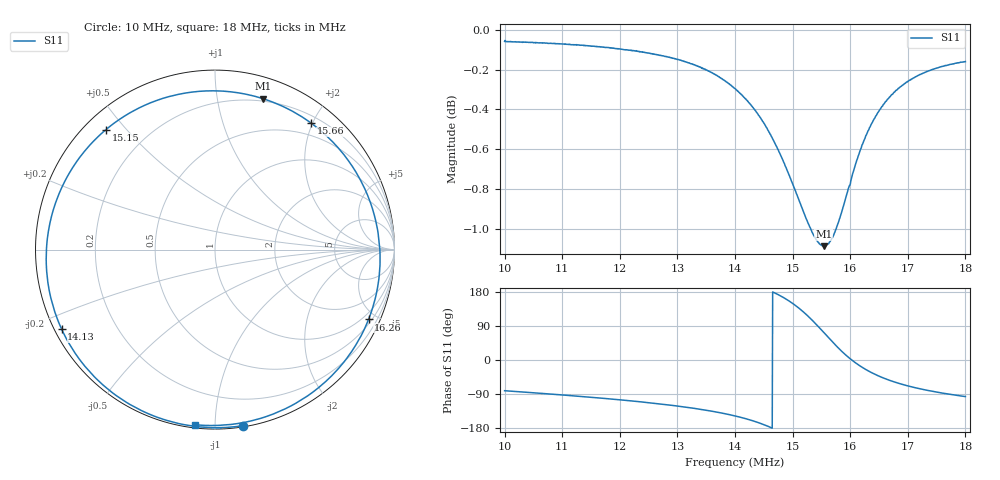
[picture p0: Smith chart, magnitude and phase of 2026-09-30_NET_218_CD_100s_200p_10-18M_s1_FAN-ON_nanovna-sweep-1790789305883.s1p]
! NanoVNA Web complex sweep
! Processing: unaveraged complex samples; linear segment spacing; no smoothing
# Hz S RI R 50
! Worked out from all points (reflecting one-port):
!   1010 points, 10 MHz to 18 MHz, reference 50 ohm
!   lowest |S11| = -1.1 dB at 15.54 MHz (marker M1), VSWR 15.99, Z = 8.89 + j67.5 ohm
!   phase of S11 starts at -81 deg and turns -375 deg over the sweep
!   S11 on the Smith chart (normalised r, x): 10 MHz: 0.01, -1.17; 14.13 MHz: 0.02, -0.24; 15.15 MHz: 0.06, +0.44; 15.66 MHz: 0.30, +1.98; 16.26 MHz: 0.68, -4.52; 18 MHz: 0.02, -0.89
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1e7  0.1545 -0.9814
1.100698e7  -0.0404 -0.9911
1.200604e7  -0.2582 -0.9547
1.300509e7  -0.5147 -0.8376
1.356012e7  -0.6793 -0.701
1.400414e7  -0.8171 -0.5163
1.413101e7  -0.8542 -0.4437
1.440852e7  -0.921 -0.2401
1.466225e7  -0.9383 0.0158
1.484462e7  -0.893 0.246
1.50032e7  -0.7844 0.4702
1.514592e7  -0.6077 0.6683
1.526486e7  -0.3947 0.8027
1.536e7  -0.1842 0.8689
1.545515e7  0.0485 0.8827
1.554237e7  0.2659 0.8412
1.566131e7  0.536 0.7044
1.582782e7  0.8023 0.4025
1.591503e7  0.8784 0.2243
1.600225e7  0.9133 0.0489
1.612119e7  0.912 -0.1707
1.626391e7  0.8556 -0.3889
1.642249e7  0.7568 -0.5743
1.6589e7  0.6384 -0.7145
1.67793e7  0.5034 -0.8232
1.700131e7  0.3581 -0.9022
1.742947e7  0.1237 -0.9695
1.800036e7  -0.1119 -0.9754
